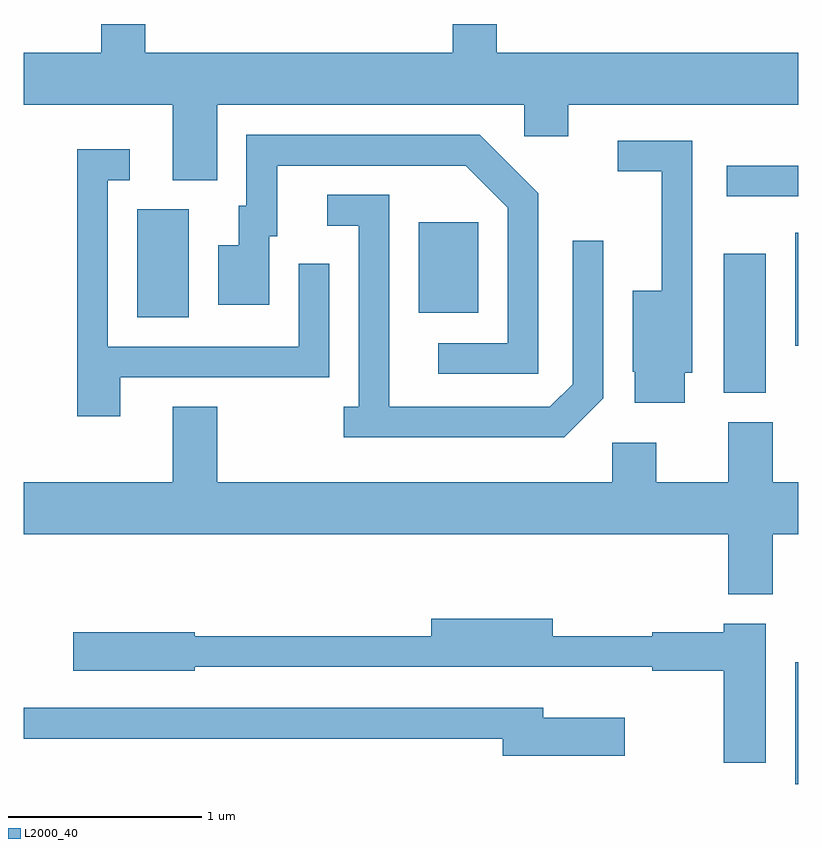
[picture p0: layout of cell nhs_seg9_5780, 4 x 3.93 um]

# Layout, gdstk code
import gdstk
lib = gdstk.Library(unit=1e-6, precision=1e-09)
def R(c, l, rs):  # rectangles x0, y0, x1, y1
    for r in rs: c.add(gdstk.rectangle(r[:2], r[2:], *l))
def P(c, l, *ps):  # polygons
    for p in ps: c.add(gdstk.Polygon(p, *l))
L2000_40 = (2000, 40)

nhs_seg9_5780 = lib.new_cell('nhs_seg9_5780')
R(nhs_seg9_5780, L2000_40, [(359.596,2010.506,359.611,2011.134), (359.226,2012.526,359.444,2013.244), (359.596,2012.771,359.611,2013.354), (356.196,2012.916,356.464,2013.474), (357.651,2012.941,357.959,2013.409), (359.243,2013.541,359.611,2013.699)])
P(nhs_seg9_5780, L2000_40, [(356.609,2014.016),(358.196,2014.016),(358.196,2013.851),(358.424,2013.851),(358.424,2014.016),(359.611,2014.016),(359.611,2014.284),(358.054,2014.284),(358.054,2014.432),(357.826,2014.432),(357.826,2014.284),(356.239,2014.284),(356.239,2014.432),(356.011,2014.432),(356.011,2014.284),(355.611,2014.284),(355.611,2014.016),(356.381,2014.016),(356.381,2013.626),(356.609,2013.626)],
  [(358.269,2013.557),(357.967,2013.859),(356.761,2013.859),(356.761,2013.494),(356.721,2013.494),(356.721,2013.289),(356.616,2013.289),(356.616,2012.981),(356.879,2012.981),(356.879,2013.336),(356.919,2013.336),(356.919,2013.701),(357.894,2013.701),(358.111,2013.484),(358.111,2012.784),(357.753,2012.784),(357.753,2012.626),(358.269,2012.626)],
  [(359.024,2012.631),(359.064,2012.631),(359.064,2013.829),(358.678,2013.829),(358.678,2013.671),(358.906,2013.671),(358.906,2013.054),(358.756,2013.054),(358.756,2012.635),(358.766,2012.635),(358.766,2012.476),(359.024,2012.476)],
  [(356.109,2012.606),(357.189,2012.606),(357.189,2013.193),(357.031,2013.193),(357.031,2012.764),(356.044,2012.764),(356.044,2013.626),(356.158,2013.626),(356.158,2013.784),(355.886,2013.784),(355.886,2012.406),(356.109,2012.406)],
  [(358.604,2012.499),(358.604,2013.313),(358.446,2013.313),(358.446,2012.572),(358.329,2012.454),(357.499,2012.454),(357.499,2013.549),(357.178,2013.549),(357.178,2013.391),(357.341,2013.391),(357.341,2012.454),(357.263,2012.454),(357.263,2012.296),(358.402,2012.296)],
  [(359.479,2011.796),(359.611,2011.796),(359.611,2012.064),(359.479,2012.064),(359.479,2012.374),(359.251,2012.374),(359.251,2012.064),(358.879,2012.064),(358.879,2012.269),(358.651,2012.269),(358.651,2012.064),(356.609,2012.064),(356.609,2012.454),(356.381,2012.454),(356.381,2012.064),(355.611,2012.064),(355.611,2011.796),(359.251,2011.796),(359.251,2011.486),(359.479,2011.486)],
  [(359.444,2011.334),(359.226,2011.334),(359.226,2011.289),(358.856,2011.289),(358.856,2011.269),(358.344,2011.269),(358.344,2011.359),(357.716,2011.359),(357.716,2011.269),(356.494,2011.269),(356.494,2011.289),(355.866,2011.289),(355.866,2011.091),(356.494,2011.091),(356.494,2011.111),(358.856,2011.111),(358.856,2011.091),(359.226,2011.091),(359.226,2010.616),(359.444,2010.616)],
  [(358.714,2010.849),(358.294,2010.849),(358.294,2010.899),(355.611,2010.899),(355.611,2010.741),(358.086,2010.741),(358.086,2010.651),(358.714,2010.651)])

lib.write_gds('nhs_seg9_5780.gds')
